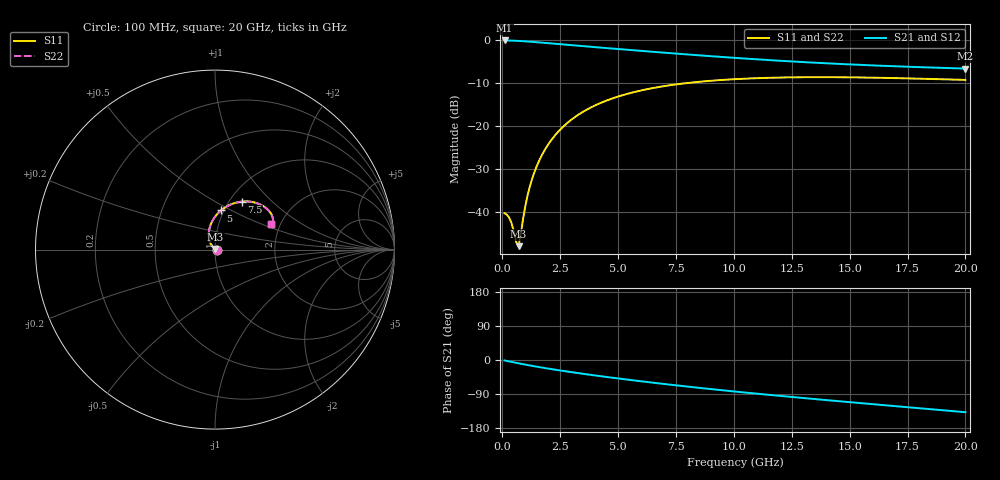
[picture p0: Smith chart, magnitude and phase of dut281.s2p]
! Touchstone file exported from HFSS 2024.1.0
!  File:  C:/UserFiles/LocalFiles/RDL_TSV_Batchsim/temp_RDL_TSV_281_1779464348.aedt
!  Generated:  11:52:39 PM May 22, 2026
!  Design:  RDL_TSV
!  Project:  temp_RDL_TSV_281_1779464348
!  Setup:  Setup1
!  Solution:  Sweep
! Variables:
!  dtsv = 12.08um
!  hbump = 3um
!  htsv = 55.27um
!  ldown = 126.88um
!  lrdl = 381.18um
!  p = 40
!  p1 = 47.55um
!  rhole = 10um
!  subl = 1905.36um
!  t = 450um
!  tdown = 4.81um
!  trdl = 4.86um
!  viad = 10um
!  wdown = 28.83um
!  wrdl = 13.4um
!  xbump = 18um
# GHz S MA R 50.000000
! Terminal data exported
! Port[1] = TM1_1_T1
! Port[2] = TM1_4_T1
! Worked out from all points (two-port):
!   200 points, 100 MHz to 20 GHz, reference 50 ohm
!   highest |S21| = -0.09 dB at 100 MHz (marker M1); lowest = -6.6 dB at 20 GHz (marker M2)
!   |S21| within 3 dB of the highest: start of sweep to 7.368 GHz
!   lowest |S11| = -47.9 dB at 700 MHz (marker M3), VSWR 1.01, Z = 50.1 + j0.385 ohm
!   |S11| at or under -10 dB: start of sweep to 7.951 GHz
!   |S22| runs from -47.9 to -8.6 dB; largest |S21 - S12| = 6.7e-13
!   S11 on the Smith chart (normalised r, x): 100 MHz: 1.02, +0.00; 5 GHz: 0.97, +0.44; 7.5 GHz: 1.14, +0.67; 20 GHz: 1.80, +0.58
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0.1  0.009718 2.5  0.9898 -1.3  0.9898 -1.3  0.009718 2.5
! Gamma 0 0 0 0
! Port Impedance 50 0 50 0
0.3  0.008639 6.6  0.9877 -3.8  0.9877 -3.8  0.00864 6.6
0.4  0.007464 10.2  0.9858 -5.1  0.9858 -5.1  0.007465 10.2
0.6  0.004496 36.5  0.9806 -7.6  0.9806 -7.6  0.004498 36.5
0.7  0.004037 72.1  0.9775 -8.8  0.9775 -8.8  0.004036 72.0
0.8  0.00556 104.3  0.974 -10.0  0.974 -10.0  0.005557 104.3
0.9  0.008441 119.6  0.9703 -11.1  0.9703 -11.1  0.008436 119.6
1  0.01202 126.1  0.9663 -12.3  0.9663 -12.3  0.01201 126.1
1.1  0.01603 128.8  0.9621 -13.4  0.9621 -13.4  0.01602 128.8
1.3  0.02502 129.5  0.9533 -15.7  0.9533 -15.7  0.025 129.5
1.6  0.04016 126.5  0.9392 -18.9  0.9392 -18.9  0.04014 126.5
2  0.06225 120.4  0.9197 -22.9  0.9197 -22.9  0.06222 120.4
2.4  0.08531 114.1  0.9002 -26.8  0.9002 -26.8  0.08528 114.1
2.9  0.1142 106.5  0.8765 -31.4  0.8765 -31.4  0.1141 106.5
3.5  0.1476 98.2  0.8494 -36.6  0.8494 -36.6  0.1476 98.2
5  0.2208 81.3  0.7869 -48.7  0.7869 -48.7  0.2207 81.3
6.8  0.2862 66.0  0.7201 -62.0  0.7201 -62.0  0.2861 66.0
7.5  0.3055 61.0  0.6963 -66.9  0.6963 -66.9  0.3053 61.0
10.1  0.3522 46.5  0.6196 -83.6  0.6196 -83.6  0.352 46.5
13.4  0.3707 34.1  0.5476 -102.6  0.5476 -102.6  0.3705 34.1
16.7  0.363 26.9  0.4991 -120.3  0.4991 -120.3  0.3628 26.9
20  0.3449 24.4  0.4669 -137.8  0.4669 -137.8  0.3447 24.4
